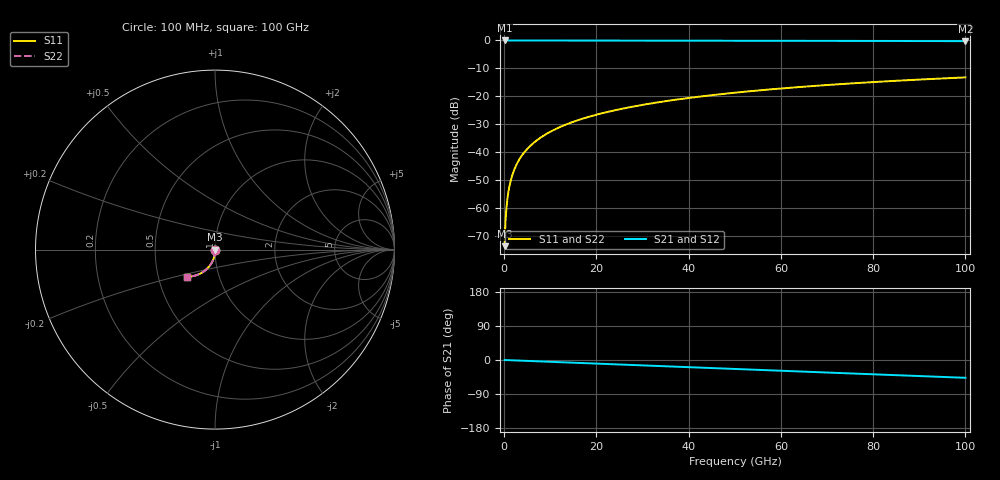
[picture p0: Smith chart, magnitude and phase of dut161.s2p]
! Touchstone file exported from HFSS 2026.1.0
!  File:  C:/ffzhzh/LocalFiles/Ansys_Project_Files/temp_train_TSV_161_1783506783_44152.aedt
!  Generated:  06:34:13 PM Jul  8, 2026
!  Design:  TSV
!  Project:  temp_train_TSV_161_1783506783_44152
! Variables:
!  h_bsmrdl = 2um
!  h_ox = 20um
!  h_rdl = 5um
!  h_sub = 96.24um
!  h_tmrdl = 5um
!  h_tsv = 96.24um
!  h_via = 3um
!  l_bsmrdl = 300um
!  l_sub = 426.26um
!  l_tmrdl = 200um
!  m_sub = 200um
!  pitch = 40.77um
!  r_tsv = 13.13um
!  s_tmrdl = 10um
!  w_bsmrdl = 18um
!  w_sub = 500um
!  w_tmrdl = 12um
!  x_tsv_center1 = 206um
!  x_tsv_center2 = 524um
!  x_tsv_center3 = 736um
!  x_tsv_center4 = 1054um
!  x_tsv_center5 = 1266um
!  x_tsv_center6 = 1584um
# GHz S MA R 50.000000
! Terminal data exported
! Port[1] = TSV1_1_T1
! Port[2] = TSV1_1_T2
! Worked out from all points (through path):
!   1000 points, 100 MHz to 100 GHz, reference 50 ohm
!   highest |S21| = 0.00 dB at 100 MHz (marker M1); lowest = -0.2 dB at 100 GHz (marker M2)
!   group delay of S21, straight-line fit = 1.31 ps
!   lowest |S11| = -73.6 dB at 100 MHz (marker M3), VSWR 1.00, Z = 50 - j0.0182 ohm
!   |S11| at or under -10 dB: start of sweep to end of sweep
!   |S22| runs from -73.6 to -13.2 dB; largest |S21 - S12| = 3.4e-15
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0.1  0.0002094 -60.6  0.9999 -0.1  0.9999 -0.1  0.0002094 -60.6
! Gamma 0 0 0 0
! Port Impedance 50 0 50 0
0.4  0.0007995 -77.4  0.9998 -0.2  0.9998 -0.2  0.0007995 -77.4
0.7  0.001464 -80.5  0.9997 -0.3  0.9997 -0.3  0.001464 -80.5
0.8  0.001691 -81.3  0.9997 -0.4  0.9997 -0.4  0.001691 -81.3
1  0.002147 -82.5  0.9997 -0.5  0.9997 -0.5  0.002147 -82.5
1.3  0.002834 -83.8  0.9997 -0.6  0.9997 -0.6  0.002834 -83.8
1.7  0.003752 -85.0  0.9996 -0.8  0.9996 -0.8  0.003752 -85.0
2.3  0.005137 -86.1  0.9995 -1.1  0.9995 -1.1  0.005137 -86.1
2.9  0.006532 -87.0  0.9995 -1.4  0.9995 -1.4  0.006532 -87.0
3.7  0.008403 -87.9  0.9994 -1.8  0.9994 -1.8  0.008403 -87.9
4.7  0.01075 -88.8  0.9993 -2.3  0.9993 -2.3  0.01075 -88.8
5.8  0.01335 -89.7  0.9992 -2.8  0.9992 -2.8  0.01335 -89.7
8.6  0.01996 -91.6  0.9989 -4.1  0.9989 -4.1  0.01996 -91.6
12.2  0.02849 -93.7  0.9985 -5.8  0.9985 -5.8  0.02849 -93.7
16.8  0.0394 -96.2  0.998 -8.0  0.998 -8.0  0.0394 -96.2
24.2  0.05686 -100.0  0.9969 -11.5  0.9969 -11.5  0.05686 -100.0
33.4  0.07836 -104.6  0.9951 -15.9  0.9951 -15.9  0.07836 -104.6
41.2  0.09634 -108.4  0.9933 -19.6  0.9933 -19.6  0.09633 -108.4
50.1  0.1165 -112.7  0.9909 -23.8  0.9909 -23.8  0.1165 -112.7
66.7  0.1527 -120.6  0.9856 -31.5  0.9856 -31.5  0.1527 -120.6
83.4  0.1869 -128.5  0.9792 -39.3  0.9792 -39.3  0.1869 -128.5
100  0.2185 -136.3  0.9721 -47.0  0.9721 -47.0  0.2185 -136.3
